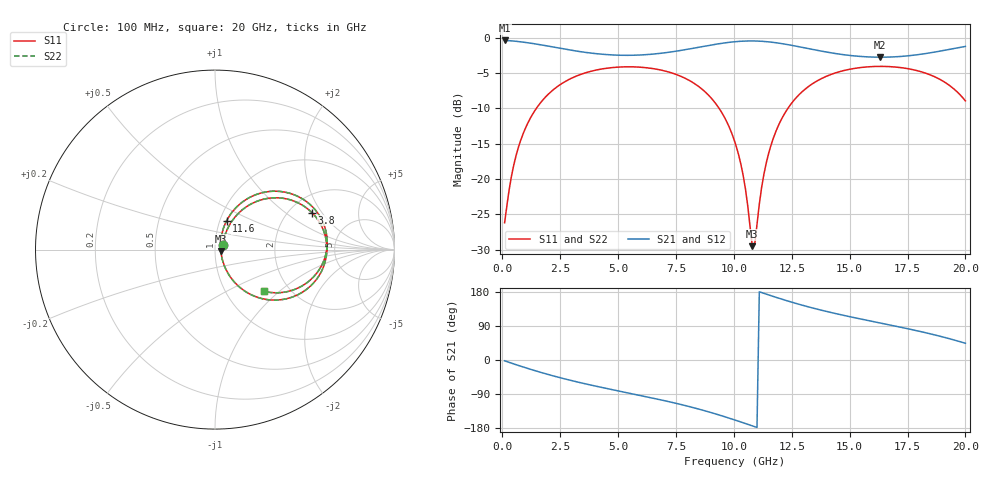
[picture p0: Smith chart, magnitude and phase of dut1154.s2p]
! Touchstone file exported from HFSS 2026.1.0
!  File:  C:/ffzhzh/LocalFiles/Ansys_Project_Files/temp_train_TSV_RDL_1154_1783311386_30076.aedt
!  Generated:  12:34:08 PM Jul  6, 2026
!  Design:  TSV_RDL
!  Project:  temp_train_TSV_RDL_1154_1783311386_30076
! Variables:
!  h_bsmrdl = 2.02um
!  h_ox = 20um
!  h_rdl = 5um
!  h_sub = 76.89um
!  h_tmrdl = 2.24um
!  h_tsv = 76.89um
!  h_via = 3um
!  l_bsmrdl = 327.02um
!  l_sub = 5407.32um
!  l_tmrdl = 971.81um
!  m_sub = 200um
!  pitch = 54.65um
!  r_tsv = 5.88um
!  s_tmrdl = 10um
!  w_bsmrdl = 29.37um
!  w_sub = 500um
!  w_tmrdl = 16.97um
!  x_tsv_center1 = 980.295um
!  x_tsv_center2 = 1336.685um
!  x_tsv_center3 = 2325.465um
!  x_tsv_center4 = 2681.855um
!  x_tsv_center5 = 3670.635um
!  x_tsv_center6 = 4027.025um
# GHz S MA R 50.000000
! Terminal data exported
! Port[1] = TM_RDL1_1_T1
! Port[2] = TM_RDL5_1_T1
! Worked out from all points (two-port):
!   200 points, 100 MHz to 20 GHz, reference 50 ohm
!   highest |S21| = -0.38 dB at 100 MHz (marker M1); lowest = -2.7 dB at 16.3 GHz (marker M2)
!   |S21| within 3 dB of the highest: start of sweep to end of sweep
!   lowest |S11| = -29.5 dB at 10.8 GHz (marker M3), VSWR 1.07, Z = 53.4 - j0.843 ohm
!   |S11| at or under -10 dB: start of sweep to 1.47 GHz; 9.365 GHz to 12.33 GHz (2.968 GHz wide, 27.4 % of centre)
!   |S22| runs from -29.7 to -4.0 dB; largest |S21 - S12| = 1.6e-14
!   S11 on the Smith chart (normalised r, x): 100 MHz: 1.09, +0.05; 3.8 GHz: 2.62, +1.62; 11.6 GHz: 1.08, +0.36; 20 GHz: 1.49, -0.80
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0.1  0.04914 27.8  0.9571 -2.1  0.9571 -2.1  0.04914 27.8
! Gamma 0 0 0 0
! Port Impedance 50 0 50 0
0.5  0.1268 58.5  0.9475 -10.5  0.9475 -10.5  0.1268 58.5
1.2  0.2677 55.6  0.917 -24.2  0.917 -24.2  0.2677 55.6
2.2  0.4285 42.2  0.8598 -41.9  0.8598 -41.9  0.4285 42.2
3.5  0.5588 24.7  0.7919 -61.7  0.7919 -61.7  0.5588 24.7
3.8  0.5777 20.9  0.7802 -65.8  0.7802 -65.8  0.5778 20.9
5.3  0.623 2.9  0.7514 -85.2  0.7514 -85.2  0.623 2.8
6.8  0.5933 -15.3  0.7751 -104.5  0.7751 -104.5  0.5934 -15.3
8.9  0.3935 -44.7  0.8816 -136.6  0.8816 -136.6  0.3935 -44.8
10.1  0.1712 -60.7  0.9395 -159.5  0.9395 -159.5  0.1711 -61.0
10.5  0.08543 -57.5  0.948 -167.6  0.948 -167.6  0.08518 -58.0
10.8  0.03355 -13.6  0.9494 -173.8  0.9494 -173.8  0.03279 -14.1
10.9  0.03426 24.1  0.9489 -175.9  0.9489 -175.9  0.03348 24.5
11.2  0.08726 65.1  0.9443 177.9  0.9443 177.9  0.08692 65.6
11.6  0.1727 68.0  0.9317 169.8  0.9317 169.8  0.1725 68.3
12.3  0.3105 59.6  0.8962 156.2  0.8962 156.2  0.3104 59.8
13.4  0.4734 43.4  0.8271 137.3  0.8271 137.3  0.4733 43.4
14.9  0.5939 23.5  0.7533 115.7  0.7533 115.7  0.5939 23.5
16.3  0.6275 6.9  0.7286 97.9  0.7286 97.9  0.6275 6.9
16.7  0.6254 2.3  0.7302 92.9  0.7302 92.9  0.6253 2.3
18.3  0.5605 -17.1  0.7739 71.8  0.7739 71.8  0.5605 -17.2
20  0.3577 -40.4  0.8685 44.2  0.8685 44.2  0.3576 -40.5
